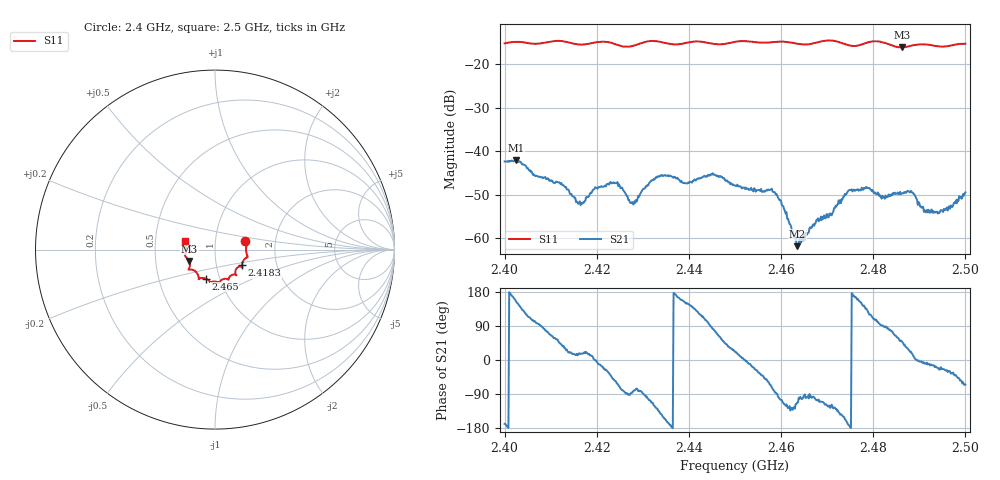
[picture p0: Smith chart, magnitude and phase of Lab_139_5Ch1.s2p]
# Hz S RI R 50
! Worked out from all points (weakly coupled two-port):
!   601 points, 2.4 GHz to 2.5 GHz, reference 50 ohm
!   highest |S21| = -42.10 dB at 2.4025 GHz (marker M1); lowest = -61.8 dB at 2.4635 GHz (marker M2)
!   lowest |S11| = -16.1 dB at 2.4862 GHz (marker M3), VSWR 1.37, Z = 37.2 - j4.83 ohm
!   |S11| at or under -10 dB: start of sweep to end of sweep
!   S12 and S22 are empty: the file has one direction only
!   S11 on the Smith chart (normalised r, x): 2.4 GHz: 1.40, +0.14; 2.4183 GHz: 1.33, -0.24; 2.465 GHz: 0.86, -0.28; 2.5 GHz: 0.71, +0.07
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2.4e9  0.1686 0.047  -0.00749 -0.00153  0 0  0 0
2.4025e9  0.1788 0.0356  -0.00711 0.00333  0 0  0 0
2.412333e9  0.1815 -0.0415  0.00328 0.00281  0 0  0 0
2.416667e9  0.1549 -0.0684  0.00243 0.000742  0 0  0 0
2.418333e9  0.15 -0.0872  0.00295 0.000844  0 0  0 0
2.424e9  0.1425 -0.0949  0.00245 -0.00357  0 0  0 0
2.427833e9  0.1143 -0.1166  0.000291 -0.00247  0 0  0 0
2.433333e9  0.1176 -0.1411  -0.00357 -0.00369  0 0  0 0
2.4395e9  0.0769 -0.1599  -0.00372 0.00211  0 0  0 0
2.445333e9  0.0594 -0.162  0.000842 0.00533  0 0  0 0
2.45e9  0.0264 -0.1802  0.00376 0.0015  0 0  0 0
2.4585e9  -0.0203 -0.18  0.000506 -0.00337  0 0  0 0
2.4635e9  -0.0386 -0.1689  -0.000314 -0.000748  0 0  0 0
2.465e9  -0.0523 -0.1615  -8.21e-05 -0.0011  0 0  0 0
2.466667e9  -0.0712 -0.1578  -0.000224 -0.00131  0 0  0 0
2.474833e9  -0.0997 -0.132  -0.00358 -0.000429  0 0  0 0
2.483333e9  -0.1412 -0.0966  0.000454 0.00315  0 0  0 0
2.486167e9  -0.1437 -0.0634  0.00212 0.00249  0 0  0 0
2.488167e9  -0.1575 -0.0452  0.00325 0.00131  0 0  0 0
2.491e9  -0.1671 -0.0339  0.002 -0.000208  0 0  0 0
2.493833e9  -0.1619 -0.0114  0.0019 -0.00068  0 0  0 0
2.5e9  -0.1666 0.0468  0.00144 -0.00305  0 0  0 0
